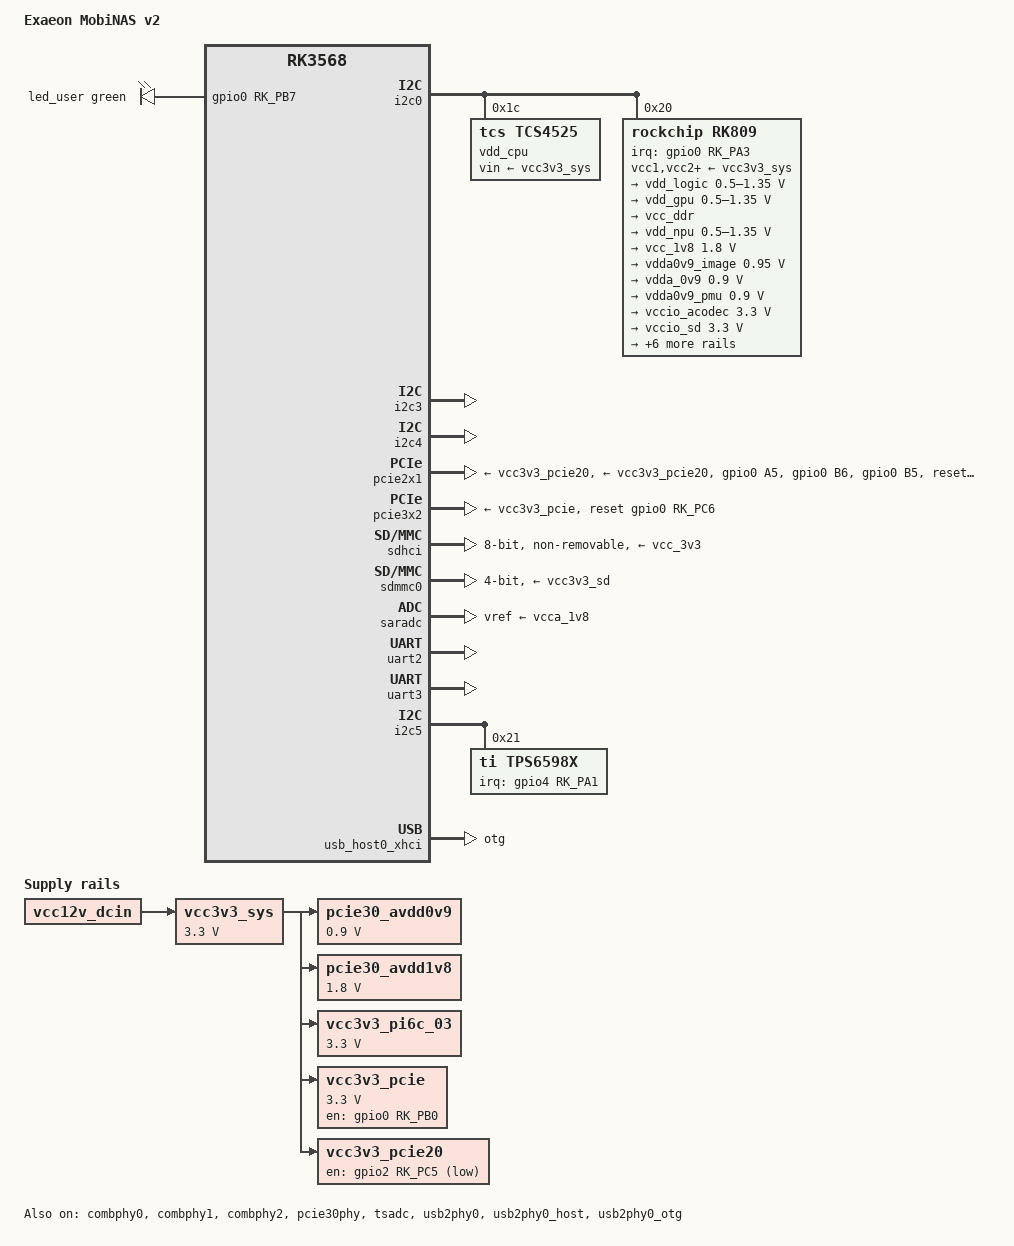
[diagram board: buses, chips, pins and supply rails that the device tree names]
/dts-v1/;

#include <dt-bindings/gpio/gpio.h>
#include <dt-bindings/input/input.h>
#include <dt-bindings/leds/common.h>
#include <dt-bindings/pinctrl/rockchip.h>
#include <dt-bindings/soc/rockchip,vop2.h>
#include "dt-bindings/usb/pd.h"
#include "rk3568.dtsi"

/ {
	model = "Exaeon MobiNAS v2";
	compatible = "exaeon,mobinas", "rockchip,rk3568";

	aliases {
		mmc0 = &sdhci;
		mmc1 = &sdmmc0;
		serial2 = &uart2;
	};

	chosen: chosen {
		stdout-path = "serial2:1500000n8";
	};

	leds {
		compatible = "gpio-leds";

		led_user: led-0 {
			gpios = <&gpio0 RK_PB7 GPIO_ACTIVE_HIGH>;
			function = LED_FUNCTION_HEARTBEAT;
			color = <LED_COLOR_ID_GREEN>;
			linux,default-trigger = "heartbeat";
			pinctrl-names = "default";
			pinctrl-0 = <&led_user_en>;
		};
	};

	vcc12v_dcin: vcc12v-dcin-regulator {
		compatible = "regulator-fixed";
		regulator-name = "vcc12v_dcin";
		regulator-always-on;
		regulator-boot-on;
	};

	vcc3v3_sys: vcc3v3-sys-regulator {
		compatible = "regulator-fixed";
		regulator-name = "vcc3v3_sys";
		regulator-always-on;
		regulator-boot-on;
		regulator-min-microvolt = <3300000>;
		regulator-max-microvolt = <3300000>;
		vin-supply = <&vcc12v_dcin>;
	};

	pcie30_avdd0v9: pcie30-avdd0v9-regulator {
		compatible = "regulator-fixed";
		regulator-name = "pcie30_avdd0v9";
		regulator-always-on;
		regulator-boot-on;
		regulator-min-microvolt = <900000>;
		regulator-max-microvolt = <900000>;
		vin-supply = <&vcc3v3_sys>;
	};

	pcie30_avdd1v8: pcie30-avdd1v8-regulator {
		compatible = "regulator-fixed";
		regulator-name = "pcie30_avdd1v8";
		regulator-always-on;
		regulator-boot-on;
		regulator-min-microvolt = <1800000>;
		regulator-max-microvolt = <1800000>;
		vin-supply = <&vcc3v3_sys>;
	};

	/* pi6c pcie clock generator */
	vcc3v3_pi6c_03: vcc3v3-pi6c-03-regulator {
		compatible = "regulator-fixed";
		regulator-name = "vcc3v3_pi6c_03";
		regulator-always-on;
		regulator-boot-on;
		regulator-min-microvolt = <3300000>;
		regulator-max-microvolt = <3300000>;
		vin-supply = <&vcc3v3_sys>;
	};

	vcc3v3_pcie: vcc3v3-pcie-regulator {
		compatible = "regulator-fixed";
		enable-active-high;
		gpios = <&gpio0 RK_PB0 GPIO_ACTIVE_HIGH>;
		pinctrl-names = "default";
		pinctrl-0 = <&pcie_enable_h>;
		regulator-name = "vcc3v3_pcie";
		regulator-min-microvolt = <3300000>;
		regulator-max-microvolt = <3300000>;
		vin-supply = <&vcc3v3_sys>;
	};

	vcc3v3_pcie20: vcc3v3-pcie20 {
		compatible = "regulator-fixed";
		regulator-name = "vcc3v3_pcie20";
		regulator-always-on;
		gpio = <&gpio2 RK_PC5 GPIO_ACTIVE_LOW>;
		pinctrl-names = "default";
		pinctrl-0 = <&vcc3v3_powerdown>;
		vin-supply = <&vcc3v3_sys>;
	};
};

&combphy0 {
	status = "okay";
};

&combphy1 {
	status = "okay";
};

&combphy2 {
	status = "okay";
};

&cpu0 {
	cpu-supply = <&vdd_cpu>;
};

&cpu1 {
	cpu-supply = <&vdd_cpu>;
};

&cpu2 {
	cpu-supply = <&vdd_cpu>;
};

&cpu3 {
	cpu-supply = <&vdd_cpu>;
};

&i2c0 {
	status = "okay";

	vdd_cpu: regulator@1c {
		compatible = "tcs,tcs4525";
		reg = <0x1c>;
		fcs,suspend-voltage-selector = <1>;
		regulator-name = "vdd_cpu";
		regulator-always-on;
		regulator-boot-on;
		regulator-min-microvolt = <800000>;
		regulator-max-microvolt = <1150000>;
		regulator-ramp-delay = <2300>;
		vin-supply = <&vcc3v3_sys>;

		regulator-state-mem {
			regulator-off-in-suspend;
		};
	};

	rk809: pmic@20 {
		compatible = "rockchip,rk809";
		reg = <0x20>;
		interrupt-parent = <&gpio0>;
		interrupts = <RK_PA3 IRQ_TYPE_LEVEL_LOW>;
		#clock-cells = <1>;
		pinctrl-names = "default";
		pinctrl-0 = <&pmic_int>;
		rockchip,system-power-controller;
		vcc1-supply = <&vcc3v3_sys>;
		vcc2-supply = <&vcc3v3_sys>;
		vcc3-supply = <&vcc3v3_sys>;
		vcc4-supply = <&vcc3v3_sys>;
		vcc5-supply = <&vcc3v3_sys>;
		vcc6-supply = <&vcc3v3_sys>;
		vcc7-supply = <&vcc3v3_sys>;
		vcc8-supply = <&vcc3v3_sys>;
		vcc9-supply = <&vcc3v3_sys>;
		wakeup-source;

		regulators {
			vdd_logic: DCDC_REG1 {
				regulator-name = "vdd_logic";
				regulator-always-on;
				regulator-boot-on;
				regulator-init-microvolt = <900000>;
				regulator-initial-mode = <0x2>;
				regulator-min-microvolt = <500000>;
				regulator-max-microvolt = <1350000>;
				regulator-ramp-delay = <6001>;

				regulator-state-mem {
					regulator-off-in-suspend;
				};
			};

			vdd_gpu: DCDC_REG2 {
				regulator-name = "vdd_gpu";
				regulator-always-on;
				regulator-init-microvolt = <900000>;
				regulator-initial-mode = <0x2>;
				regulator-min-microvolt = <500000>;
				regulator-max-microvolt = <1350000>;
				regulator-ramp-delay = <6001>;

				regulator-state-mem {
					regulator-off-in-suspend;
				};
			};

			vcc_ddr: DCDC_REG3 {
				regulator-name = "vcc_ddr";
				regulator-always-on;
				regulator-boot-on;
				regulator-initial-mode = <0x2>;

				regulator-state-mem {
					regulator-on-in-suspend;
				};
			};

			vdd_npu: DCDC_REG4 {
				regulator-name = "vdd_npu";
				regulator-init-microvolt = <900000>;
				regulator-initial-mode = <0x2>;
				regulator-min-microvolt = <500000>;
				regulator-max-microvolt = <1350000>;
				regulator-ramp-delay = <6001>;

				regulator-state-mem {
					regulator-off-in-suspend;
				};
			};

			vcc_1v8: DCDC_REG5 {
				regulator-name = "vcc_1v8";
				regulator-always-on;
				regulator-boot-on;
				regulator-min-microvolt = <1800000>;
				regulator-max-microvolt = <1800000>;

				regulator-state-mem {
					regulator-off-in-suspend;
				};
			};

			vdda0v9_image: LDO_REG1 {
				regulator-name = "vdda0v9_image";
				regulator-min-microvolt = <950000>; // For whatever reason in one of the reference
				regulator-max-microvolt = <950000>; // boards it is 950000. Investigate later.

				regulator-state-mem {
					regulator-off-in-suspend;
				};
			};

			vdda_0v9: LDO_REG2 {
				regulator-name = "vdda_0v9";
				regulator-always-on;
				regulator-boot-on;
				regulator-min-microvolt = <900000>;
				regulator-max-microvolt = <900000>;

				regulator-state-mem {
					regulator-off-in-suspend;
				};
			};

			vdda0v9_pmu: LDO_REG3 {
				regulator-name = "vdda0v9_pmu";
				regulator-always-on;
				regulator-boot-on;
				regulator-min-microvolt = <900000>;
				regulator-max-microvolt = <900000>;

				regulator-state-mem {
					regulator-on-in-suspend;
					regulator-suspend-microvolt = <900000>;
				};
			};

			vccio_acodec: LDO_REG4 { // Not used
				regulator-name = "vccio_acodec";
				//regulator-always-on;
				regulator-min-microvolt = <3300000>;
				regulator-max-microvolt = <3300000>;

				regulator-state-mem {
					regulator-off-in-suspend;
				};
			};

			vccio_sd: LDO_REG5 {
				regulator-name = "vccio_sd";
				regulator-min-microvolt = <3300000>;
				regulator-max-microvolt = <3300000>;

				regulator-state-mem {
					regulator-off-in-suspend;
				};
			};

			vcc3v3_pmu: LDO_REG6 {
				regulator-name = "vcc3v3_pmu";
				regulator-always-on;
				regulator-boot-on;
				regulator-min-microvolt = <3300000>;
				regulator-max-microvolt = <3300000>;

				regulator-state-mem {
					regulator-on-in-suspend;
					regulator-suspend-microvolt = <3300000>;
				};
			};

			vcca_1v8: LDO_REG7 {
				regulator-name = "vcca_1v8";
				regulator-always-on;
				regulator-boot-on;
				regulator-min-microvolt = <1800000>;
				regulator-max-microvolt = <1800000>;

				regulator-state-mem {
					regulator-off-in-suspend;
				};
			};

			vcca1v8_pmu: LDO_REG8 {
				regulator-name = "vcca1v8_pmu";
				regulator-always-on;
				regulator-boot-on;
				regulator-min-microvolt = <1800000>;
				regulator-max-microvolt = <1800000>;

				regulator-state-mem {
					regulator-on-in-suspend;
					regulator-suspend-microvolt = <1800000>;
				};
			};

			vcca1v8_image: LDO_REG9 {
				regulator-name = "vcca1v8_image";
				regulator-min-microvolt = <1800000>;
				regulator-max-microvolt = <1800000>;

				regulator-state-mem {
					regulator-off-in-suspend;
				};
			};

			vcc_3v3: SWITCH_REG1 {
				regulator-name = "vcc_3v3";
				regulator-always-on;
				regulator-boot-on;

				regulator-state-mem {
					regulator-off-in-suspend;
				};
			};

			vcc3v3_sd: SWITCH_REG2 {
				regulator-name = "vcc3v3_sd";
				regulator-always-on;
				regulator-boot-on;

				regulator-state-mem {
					regulator-off-in-suspend;
				};
			};
		};

	};
};

// Addon communication
&i2c3 {
	pinctrl-names = "default";
	pinctrl-0 = <&i2c3m1_xfer>;
	status = "okay";
};

// DisplayPort/USB3 mux
&i2c4 {
	pinctrl-names = "default";
	pinctrl-0 = <&i2c4m1_xfer>;
	status = "okay";
};

&pcie2x1 {
	pinctrl-names = "default";
	pinctrl-0 = <&pcie20m0_pins2>;
	phy-supply = <&vcc3v3_pcie20>;
	reset-gpios = <&gpio0 RK_PB6 GPIO_ACTIVE_HIGH>;
	vpcie3v3-supply = <&vcc3v3_pcie20>;
	status = "okay";
};

&pcie30phy {
	phy-supply = <&vcc3v3_pi6c_03>;
	status = "okay";
};

&pcie3x2 {
	pinctrl-names = "default";
	pinctrl-0 = <&pcie30x2m0_pins>;
	reset-gpios = <&gpio0 RK_PC6 GPIO_ACTIVE_HIGH>;
	vpcie3v3-supply = <&vcc3v3_pcie>;
	status = "okay";
};

&pinctrl {

	tps6598x {
		tps6598x_int: tps6598x-int {
			rockchip,pins = <4 RK_PA1 RK_FUNC_GPIO &pcfg_pull_up>;
		};
	};

	leds {
		led_user_en: led_user_en {
			rockchip,pins = <0 RK_PB7 RK_FUNC_GPIO &pcfg_pull_none>;
		};
	};

	pcie {
		pcie_enable_h: pcie-enable-h {
			rockchip,pins = <0 RK_PB0 RK_FUNC_GPIO &pcfg_pull_none>;
		};

		vcc3v3_powerdown: vcc3v3-powerdown {
			rockchip,pins = <2 RK_PC5 RK_FUNC_GPIO &pcfg_pull_none>;
		};

		pcie20m0_pins2: pcie20m0-pins2 {
			rockchip,pins =
				/* pcie20_clkreqnm0 */
				<0 RK_PA5 3 &pcfg_pull_up>,
				/* pcie20_perstnm0 */
				<0 RK_PB6 3 &pcfg_pull_none>,
				/* pcie20_wakenm0 */
				<0 RK_PB5 3 &pcfg_pull_up>;
		};
	};

	pmic {
		pmic_int: pmic_int {
			rockchip,pins =
				<0 RK_PA3 RK_FUNC_GPIO &pcfg_pull_up>;
		};
	};

};

&pmu_io_domains {
	pmuio1-supply = <&vcc3v3_pmu>;
	pmuio2-supply = <&vcc3v3_pmu>;
	vccio1-supply = <&vcc_3v3>;
	vccio2-supply = <&vcc_1v8>;
	vccio3-supply = <&vccio_sd>;
	vccio4-supply = <&vcc_3v3>;
	vccio5-supply = <&vcc_3v3>;
	vccio6-supply = <&vcc_3v3>;
	vccio7-supply = <&vcc_3v3>;
	status = "okay";
};

&sdhci {
	bus-width = <8>;
	max-frequency = <200000000>;
	non-removable;
	pinctrl-names = "default";
	//pinctrl-0 = <&emmc_bus8 &emmc_clk &emmc_cmd &emmc_datastrobe>;
	pinctrl-0 = <&emmc_bus8 &emmc_clk &emmc_cmd>;
	vmmc-supply = <&vcc_3v3>;
	vqmmc-supply = <&vcc_1v8>;
	status = "okay";
};

&sdmmc0 {
	max-frequency = <150000000>;
	no-sdio;
	no-mmc;
	bus-width = <4>;
	cap-mmc-highspeed;
	cap-sd-highspeed;
	disable-wp;
	vmmc-supply = <&vcc3v3_sd>;
	vqmmc-supply = <&vccio_sd>;
	pinctrl-names = "default";
	pinctrl-0 = <&sdmmc0_bus4 &sdmmc0_clk &sdmmc0_cmd &sdmmc0_det>;
	status = "okay";
};

&tsadc {
	rockchip,hw-tshut-mode = <1>;
	rockchip,hw-tshut-polarity = <0>;
	status = "okay";
};

&saradc {
	vref-supply = <&vcca_1v8>;
	status = "okay";
};

&uart2 {
	status = "okay";
};

&uart3 {
	pinctrl-names = "default";
	pinctrl-0 = <&uart3m0_xfer &uart3m0_ctsn &uart3m0_rtsn>;
	uart-has-rtscts;
	status = "okay";
};

/* ******************************* USB Start ********************** */
// USB PD IC TPS
&i2c5 {
	pinctrl-names = "default";
	pinctrl-0 = <&i2c5m0_xfer>;
	status = "okay";

	tps6598x: tps6598x@21 {
		compatible = "ti,tps6598x";
		reg = <0x21>;
		interrupt-parent = <&gpio4>;
		interrupts = <RK_PA1 IRQ_TYPE_LEVEL_LOW>;
		interrupt-names = "irq";
		pinctrl-names = "default";
		pinctrl-0 = <&tps6598x_int>;
		
		typec_con: connector {
			compatible = "usb-c-connector";
			label = "USB-C";
			data-role = "dual";
			power-role = "sink";
			try-power-role = "sink";
			typec-power-opmode = "3.0A";
			sink-pdos = <PDO_FIXED(5000, 3000, PDO_FIXED_USB_COMM)
				PDO_FIXED(9000, 1800, PDO_FIXED_USB_COMM)
				PDO_FIXED(12000, 1500, PDO_FIXED_USB_COMM)
				PDO_FIXED(15000, 1000, PDO_FIXED_USB_COMM)
				PDO_FIXED(20000, 1000, PDO_FIXED_USB_COMM)
				PDO_VAR(5000, 20000, 3000)>;
			op-sink-microwatt = <15000000>;

			/*ports {
				#address-cells = <1>;
				#size-cells = <0>;

				port@0 {
					reg = <0>;
					usbc_hs: endpoint {
						remote-endpoint = <&u2phy0_typec_hs>;
					};
				};

				port@1 {
					reg = <1>;
					usbc_ss: endpoint {
						remote-endpoint = <&usb_host0_xhci_ep>;
					};
				};
			};*/
		};
	};
};

&usb_host0_xhci {
	extcon = <&usb2phy0>;
	hnp-disable;
	srp-disable;
	adp-disable;
	usb-role-switch;
	snps,dis_enblslpm_quirk;
	snps,dis_u3_susphy_quirk;
	role-switch-default-mode = "host";
	dr_mode = "otg";
	status = "okay";
	maximum-speed = "super-speed";

	// port {
	// 	usb_host0_xhci_ep: endpoint {
	// 		remote-endpoint = <&usbc_ss>;
	// 	};
	// };
};

&usb2phy0 {
	status = "okay";
};

&usb2phy0_host {
	status = "okay";
	// phy-supply = <&vcc5v0_usb>;
};

&usb2phy0_otg {
	status = "okay";
	// phy-supply = <&vcc5v0_usb>;
	// port {
	// 	u2phy0_typec_hs: endpoint {
	// 		remote-endpoint = <&usbc_hs>;
	// 	};
	// };
};

/* --added by me

&gpu {
	mali-supply = <&vdd_gpu>;
	status = "okay";
};

&edp_in {
	edp_in_vp0: endpoint {
		remote-endpoint = <&vp0_out_edp>;
	};
};

&vp0 {
	vp0_out_edp: endpoint@ROCKCHIP_VOP2_EP_EDP0 {
		reg = <ROCKCHIP_VOP2_EP_EDP0>;
		remote-endpoint = <&edp_in_vp0>;
	};
};

&vop {
	assigned-clocks = <&cru DCLK_VOP0>, <&cru DCLK_VOP1>;
	assigned-clock-parents = <&pmucru PLL_HPLL>, <&cru PLL_VPLL>;
	status = "okay";
};

&vop_mmu {
	status = "okay";
};
*/
